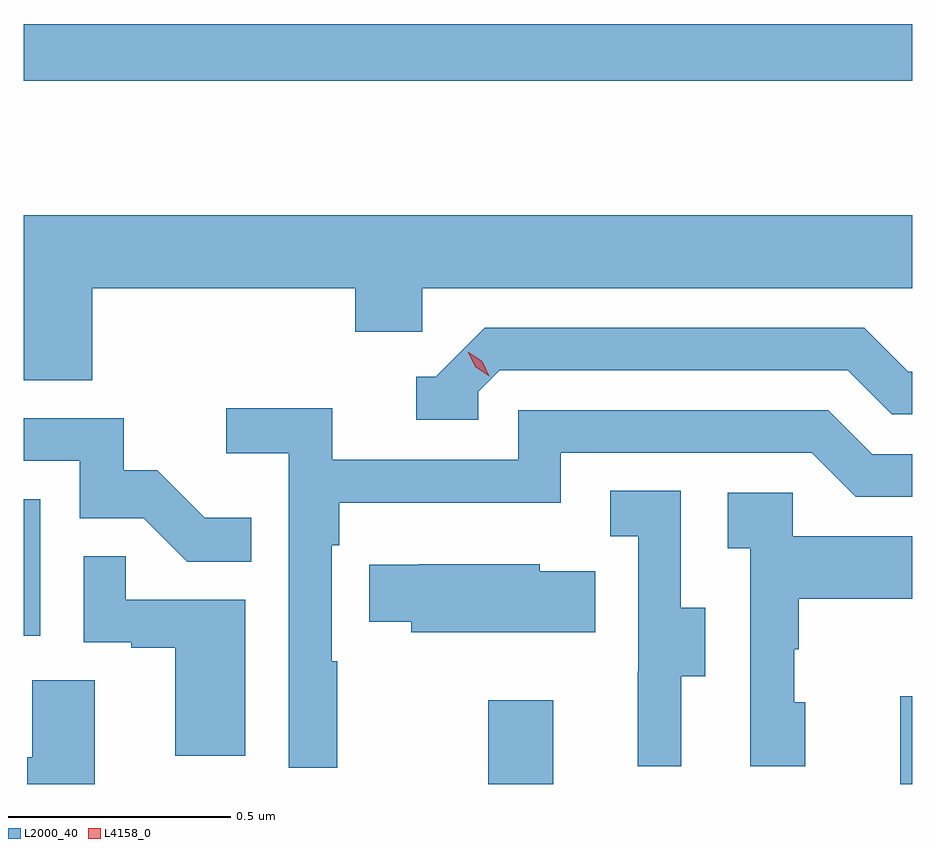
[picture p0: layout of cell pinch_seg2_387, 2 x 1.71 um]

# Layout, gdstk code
import gdstk
lib = gdstk.Library(unit=1e-6, precision=1e-09)
def R(c, l, rs):  # rectangles x0, y0, x1, y1
    for r in rs: c.add(gdstk.rectangle(r[:2], r[2:], *l))
def P(c, l, *ps):  # polygons
    for p in ps: c.add(gdstk.Polygon(p, *l))
L2000_40 = (2000, 40)
L4158_0 = (4158, 0)

pinch_seg2_387 = lib.new_cell('pinch_seg2_387')
R(pinch_seg2_387, L2000_40, [(993.886,619.88,994.033,620.068), (994.814,619.88,994.841,620.077), (992.841,620.214,992.878,620.521), (992.841,621.462,994.841,621.59)])
P(pinch_seg2_387, L2000_40, [(992.841,620.788),(992.996,620.788),(992.996,620.996),(993.587,620.996),(993.587,620.898),(993.738,620.898),(993.738,620.996),(994.841,620.996),(994.841,621.16),(992.841,621.16)],
  [(993.864,620.763),(993.912,620.811),(994.695,620.811),(994.794,620.712),(994.841,620.712),(994.841,620.808),(994.831,620.808),(994.732,620.907),(993.879,620.907),(993.768,620.796),(993.725,620.796),(993.725,620.7),(993.864,620.7)],
  [(993.547,620.156),(993.534,620.156),(993.534,620.417),(993.551,620.417),(993.551,620.513),(994.05,620.513),(994.05,620.625),(994.614,620.625),(994.713,620.526),(994.841,620.526),(994.841,620.622),(994.75,620.622),(994.651,620.721),(993.954,620.721),(993.954,620.61),(993.536,620.61),(993.536,620.726),(993.297,620.726),(993.297,620.624),(993.438,620.624),(993.438,619.917),(993.547,619.917)],
  [(993.353,620.479),(993.249,620.479),(993.142,620.586),(993.066,620.586),(993.066,620.703),(992.841,620.703),(992.841,620.607),(992.967,620.607),(992.967,620.478),(993.111,620.478),(993.209,620.38),(993.353,620.38)],
  [(994.321,620.122),(994.375,620.122),(994.375,620.277),(994.32,620.277),(994.32,620.54),(994.161,620.54),(994.161,620.437),(994.224,620.437),(994.224,620.133),(994.223,620.133),(994.223,619.92),(994.321,619.92)],
  [(994.6,620.064),(994.575,620.064),(994.575,620.183),(994.585,620.183),(994.585,620.297),(994.841,620.297),(994.841,620.437),(994.572,620.437),(994.572,620.535),(994.425,620.535),(994.425,620.411),(994.476,620.411),(994.476,619.92),(994.6,619.92)],
  [(993.34,620.295),(993.071,620.295),(993.071,620.393),(992.976,620.393),(992.976,620.199),(993.083,620.199),(993.083,620.187),(993.182,620.187),(993.182,619.944),(993.34,619.944)],
  [(994.127,620.359),(994.002,620.359),(994.002,620.374),(993.73,620.374),(993.73,620.373),(993.619,620.373),(993.619,620.245),(993.713,620.245),(993.713,620.222),(994.127,620.222)],
  [(993.001,620.114),(992.861,620.114),(992.861,619.94),(992.849,619.94),(992.849,619.88),(993.001,619.88)])
P(pinch_seg2_387, L4158_0, [(993.889,620.798),(993.858,620.818),(993.842,620.85),(993.842,620.851),(993.843,620.851),(993.873,620.831),(993.889,620.798),(993.889,620.798)])

lib.write_gds('pinch_seg2_387.gds')
